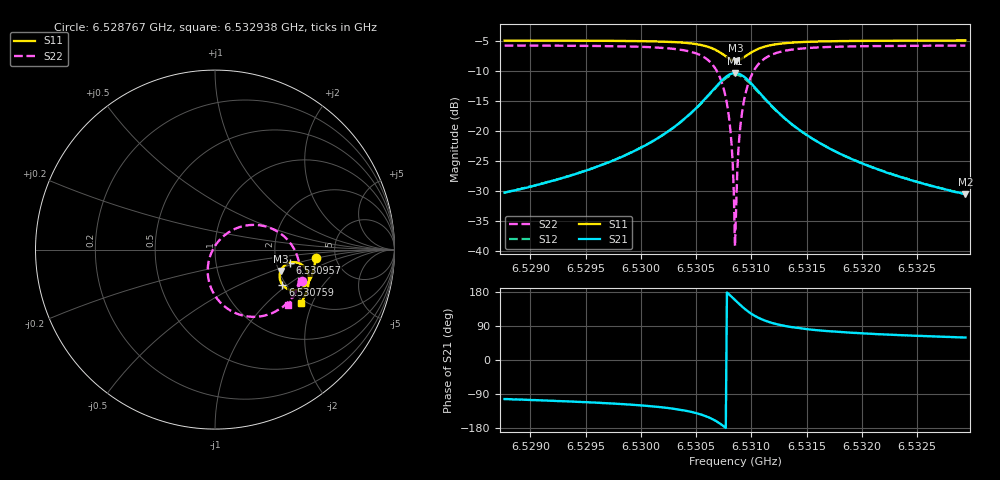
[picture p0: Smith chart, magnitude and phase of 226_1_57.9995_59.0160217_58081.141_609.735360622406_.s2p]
#  HZ  S  RI  R  50.00
! Rohde & Schwarz Vector Network Analyzer
! Rohde-Schwarz,ZNB20-2Port,1311601062101988,3.16
! Created: UTC 3/21/2024, 1:00:21 AM
! freq[Hz]  re:S11  im:S11  re:S21  im:S21  re:S12  im:S12  re:S22  im:S22
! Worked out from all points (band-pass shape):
!   401 points, 6.528767 GHz to 6.532938 GHz, reference 50 ohm
!   highest |S21| = -10.39 dB at 6.530853 GHz (marker M1); lowest = -30.5 dB at 6.532938 GHz (marker M2)
!   |S21| within 3 dB of the highest: 6.530644 GHz to 6.531062 GHz (418.2 kHz wide, 0.0064 % of centre)
!   lowest |S11| = -8.3 dB at 6.530863 GHz (marker M3), VSWR 2.25, Z = 102 - j28.6 ohm
!   |S11| at or under -10 dB: nowhere
!   |S22| runs from -39.1 to -5.8 dB; largest |S21 - S12| = 0.012
!   S11 on the Smith chart (normalised r, x): 6.528767 GHz: 3.49, -0.49; 6.530759 GHz: 1.92, -0.91; 6.530957 GHz: 2.38, -0.42; 6.532938 GHz: 1.90, -1.66
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6.5287673e9  0.5602 -0.0484  -0.00695 -0.0299  -0.00756 -0.0298  0.4823 -0.1722
6.5294658e9  0.5511 -0.1068  -0.0163 -0.0428  -0.0172 -0.0423  0.4511 -0.236
6.5301644e9  0.5242 -0.1764  -0.0495 -0.0733  -0.0516 -0.0719  0.3696 -0.325
6.5304042e9  0.4978 -0.2067  -0.0886 -0.0925  -0.0914 -0.0894  0.2897 -0.3642
6.5305815e9  0.4547 -0.2267  -0.156 -0.0991  -0.1583 -0.0927  0.1652 -0.3695
6.5306857e9  0.4103 -0.2222  -0.2246 -0.0731  -0.2239 -0.0635  0.0498 -0.3137
6.5307587e9  0.3756 -0.1955  -0.2753 -0.0152  -0.2696 -0.00526  -0.0248 -0.2073
6.5308004e9  0.3623 -0.1682  -0.2909 0.0369  -0.2821 0.045  -0.0407 -0.1179
6.5308213e9  0.3601 -0.1521  -0.2915 0.0666  -0.2816 0.0731  -0.036 -0.0693
6.5308317e9  0.36 -0.1437  -0.2896 0.0816  -0.2792 0.0873  -0.0299 -0.0451
6.5308421e9  0.361 -0.1353  -0.2862 0.0966  -0.2755 0.1012  -0.0216 -0.0213
6.5308525e9  0.363 -0.127  -0.2812 0.1111  -0.2706 0.1149  -0.0109 0.0016
6.530863e9  0.3655 -0.1191  -0.275 0.1253  -0.2642 0.128  0.00196 0.0235
6.5308734e9  0.3693 -0.1113  -0.2673 0.1385  -0.2568 0.1404  0.017 0.0438
6.5308838e9  0.3736 -0.1043  -0.2585 0.1511  -0.248 0.1519  0.0339 0.0623
6.5309047e9  0.3841 -0.0917  -0.238 0.1725  -0.2284 0.1718  0.0715 0.0935
6.5309568e9  0.4166 -0.0731  -0.1785 0.2042  -0.1717 0.2013  0.1751 0.1345
6.5310298e9  0.4592 -0.0729  -0.1043 0.2065  -0.1006 0.2035  0.2997 0.1236
6.5311341e9  0.4963 -0.0942  -0.0404 0.1761  -0.0386 0.1745  0.4026 0.0565
6.5315511e9  0.5234 -0.1733  0.0151 0.0852  0.0162 0.0849  0.4725 -0.1339
6.5322497e9  0.5055 -0.2452  0.0174 0.0409  0.0182 0.0406  0.4432 -0.249
6.5329378e9  0.4798 -0.297  0.0153 0.0257  0.0158 0.0255  0.408 -0.309
